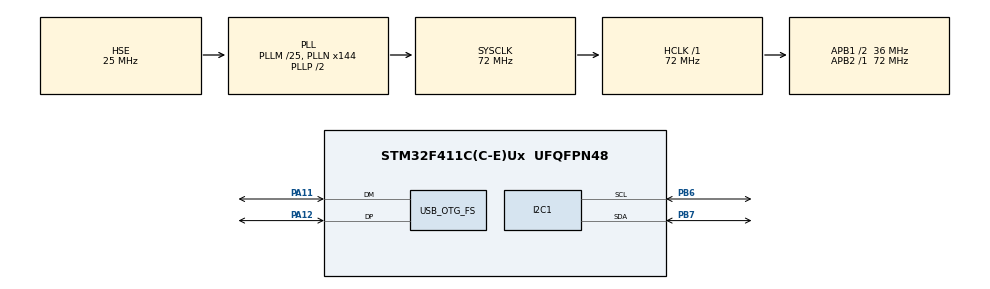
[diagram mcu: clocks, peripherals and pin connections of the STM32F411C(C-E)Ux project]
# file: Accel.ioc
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I2C1.DutyCycle=I2C_DUTYCYCLE_2
I2C1.I2C_Mode=I2C_Fast
Mcu.Family=STM32F4
Mcu.Name=STM32F411C(C-E)Ux
Mcu.Package=UFQFPN48
NVIC.OTG_FS_IRQn=true\:0\:0\:false\:false\:true\:false\:true
NVIC.PriorityGroup=NVIC_PRIORITYGROUP_4
PA11.Mode=Device_Only
PA11.Signal=USB_OTG_FS_DM
PA12.Mode=Device_Only
PA12.Signal=USB_OTG_FS_DP
PB6.Mode=I2C
PB6.Signal=I2C1_SCL
PB7.Mode=I2C
PB7.Signal=I2C1_SDA
PH0\ -\ OSC_IN.Mode=HSE-External-Oscillator
PH0\ -\ OSC_IN.Signal=RCC_OSC_IN
PH1\ -\ OSC_OUT.Mode=HSE-External-Oscillator
PH1\ -\ OSC_OUT.Signal=RCC_OSC_OUT
ProjectManager.HeapSize=0x200
ProjectManager.StackSize=0x400
ProjectManager.TargetToolchain=STM32CubeIDE
RCC.48MHZClocksFreq_Value=48000000
RCC.AHBFreq_Value=72000000
RCC.APB1CLKDivider=RCC_HCLK_DIV2
RCC.APB1Freq_Value=36000000
RCC.APB1TimFreq_Value=72000000
RCC.APB2Freq_Value=72000000
RCC.APB2TimFreq_Value=72000000
RCC.CortexFreq_Value=72000000
RCC.HCLKFreq_Value=72000000
RCC.HSE_VALUE=25000000
RCC.HSI_VALUE=16000000
RCC.LSE_VALUE=32768
RCC.PLLM=25
RCC.PLLN=144
RCC.PLLQ=3
RCC.SYSCLKFreq_VALUE=72000000
RCC.SYSCLKSource=RCC_SYSCLKSOURCE_PLLCLK
RCC.VCOOutputFreq_Value=144000000
USB_DEVICE.CLASS_NAME_FS=CDC
USB_DEVICE.VirtualMode=Cdc
USB_DEVICE.VirtualModeFS=Cdc_FS
USB_OTG_FS.VirtualMode=Device_Only
VP_TIM3_VS_ClockSourceINT.Mode=Internal
VP_TIM9_VS_ClockSourceINT.Mode=Internal
VP_USB_DEVICE_VS_USB_DEVICE_CDC_FS.Mode=CDC_FS
board=custom

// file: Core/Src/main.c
/* USER CODE BEGIN Header */
/**
  ******************************************************************************
  * @file           : main.c
  * @brief          : Main program body
  ******************************************************************************
  * @attention
  *
  * <h2><center>&copy; Copyright (c) 2021 STMicroelectronics.
  * All rights reserved.</center></h2>
  *
  * This software component is licensed by ST under Ultimate Liberty license
  * SLA0044, the "License"; You may not use this file except in compliance with
  * the License. You may obtain a copy of the License at:
  *                             www.st.com/SLA0044
  *
  ******************************************************************************
  */
/* USER CODE END Header */
#include "main.h"

/* USER CODE BEGIN Includes */
#include <stdarg.h>
/* USER CODE END Includes */

/* USER CODE BEGIN PD */
#define MPU_DEV 0x68 // Device Address
#define MPU_PW1 0x6B // Device Power Management Register 1
#define MPU_PW2 0x6C // Device Power Management Register 2
#define MPU_WHO 0x75 // Device Whoami register

#define MPU_GSR 0x19 // Gyro Sample Rate Divider Register
#define MPU_GCF 0x1B // Gyro Config Register

#define MPU_ACF 0x1C // Accelerometer Configure Register

#define MPU_DAT 0x3B // Accelerometer X sensor High Byte Starting data address
#define MPU_AXL 0x3C // Accelerometer X sensor Low  Byte

#define MPU_AYH 0x3D
#define MPU_AYL 0x3E

#define MPU_AZH 0x3F
#define MPU_AZL 0x40

/* USER CODE END PD */

I2C_HandleTypeDef hi2c1;

TIM_HandleTypeDef htim3;
TIM_HandleTypeDef htim9;

void SystemClock_Config(void);
static void MX_GPIO_Init(void);
static void MX_TIM3_Init(void);
static void MX_TIM9_Init(void);
static void MX_I2C1_Init(void);

/* USER CODE BEGIN 0 */
uint8_t msg[1024];

void cdc_printf(const char * fmt, ...){
	// Make a simple function to print to usb
	va_list args;
	va_start(args, fmt);
    vsprintf((char *)msg, fmt, args);
	va_end(args);
	CDC_Transmit_FS(msg, strlen((char *)msg));HAL_Delay(100); // We need to add a little delay or else the databuffer gets overwritten
}

void ag_whoami(uint16_t dev_addr, uint8_t *data){
	// Accel-Gyro who am i, check the whoami reg to verify we are the device
	HAL_I2C_Mem_Read(&hi2c1, dev_addr<<1, MPU_WHO, 1, data, 1, HAL_MAX_DELAY);
}

int ag_set_gyro_sample_rate(uint16_t dev_addr, uint8_t *div){
	// divide the Gyro sample rate
	return HAL_I2C_Mem_Write(&hi2c1, dev_addr<<1, MPU_GSR, 1, div, 1, HAL_MAX_DELAY);
}

int ag_get_gyro_sample_rate(uint16_t dev_addr, uint8_t *data){
	// divide the Gyro sample rate
	return HAL_I2C_Mem_Read(&hi2c1, dev_addr<<1, MPU_GSR, 1, data, 1, HAL_MAX_DELAY);
}

int ag_set_gyro_config(uint16_t dev_addr, uint8_t *config){
	// Set the Gyro Full Scale Range,
	// Conduct Self Test bool based on
	// bit 7:x Axis Gyro
	// bit 6:y Axis Gyro
	// bit 5:z Axis Gyro
	// Self test ensures that the device provided a meaning full output within
	// expected factory range, requires additional setup to calculate FS, see Registermap
	// for more info

	// Set scale on bits 4 and bits 3
	// 0:250, 1:500, 2:1000, 3:2000 [deg/s] See data sheet for more info
	// Bits 2-0 Don't matter
	return HAL_I2C_Mem_Write(&hi2c1, dev_addr<<1, MPU_GCF, 1, config, 1, HAL_MAX_DELAY);
}

int ag_get_gyro_config(uint16_t dev_addr, uint8_t *config){
	return HAL_I2C_Mem_Read(&hi2c1, dev_addr<<1, MPU_GCF, 1, config, 1, HAL_MAX_DELAY);
}

int ag_set_acel_config(uint16_t dev_addr, uint8_t *config){
	// Set the Acel Full Scale Range,
	// Conduct Self Test bool based on
	// bit 7:x Axis
	// bit 6:y Axis
	// bit 5:z Axis
	// Self test ensures that the device provided a meaning full output within
	// expected factory range, requires additional setup to calculate FS, see Registermap
	// for more info

	// Set scale on bits 4 and bits 3
	// 0:2g, 1:4g, 2:8g, 3:16g[m/(s^2)] See data sheet for more info
	// Bits 2-0 Don't matter
	return HAL_I2C_Mem_Write(&hi2c1, dev_addr<<1, MPU_ACF, 1, config, 1, HAL_MAX_DELAY);
}

int ag_get_acel_config(uint16_t dev_addr, uint8_t *config){
	return HAL_I2C_Mem_Read(&hi2c1, dev_addr<<1, MPU_ACF, 1, config, 1, HAL_MAX_DELAY);
}

int ag_get_data(uint16_t dev_addr, int16_t *x, int16_t *y, int16_t *z, int16_t *t, int16_t *a, int16_t *b, int16_t *g){
	uint8_t status = 0;
	uint8_t d[14] = {0} ;
	status = HAL_I2C_Mem_Read(&hi2c1, dev_addr<<1, MPU_DAT, 1, d, 14, HAL_MAX_DELAY);
	*x = (uint16_t)d[0]<<8 | (uint16_t)d[1];
	*y = (uint16_t)d[2]<<8 | (uint16_t)d[3];
	*z = (uint16_t)d[4]<<8 | (uint16_t)d[5];

	*t = (uint16_t)d[6]<<8 | (uint16_t)d[7];

	*a = (uint16_t)d[8]<<8 | (uint16_t)d[9];
	*b = (uint16_t)d[10]<<8 | (uint16_t)d[11];
	*g = (uint16_t)d[12]<<8 | (uint16_t)d[13];

	return status;
}

int ag_pwr_mgmt(uint16_t dev_addr, uint8_t *config1, uint8_t *config2){
	// Power Management configuration
	// Register 1
	// Bit7 - set to 1 to reset device
	// Bit6 - set to 1 to enter sleep mode (no updates), by default device is in sleep mode
	// Bit5 - set to 1 while sleep mode 0 to cycle between sleep mode and single measurement (save power, low update)
	// bit4 - na
	// bit3 - set to 1 disable temperature sensor
	// bit2-0 - set clock, just have this set to 0
	// Register 2
	// Just set this byte to zero, or it will put everything in standby mode
	int status = 0;
	status = HAL_I2C_Mem_Write(&hi2c1, dev_addr<<1, MPU_PW1, 1, config1, 1, HAL_MAX_DELAY);
	return status | HAL_I2C_Mem_Write(&hi2c1, dev_addr<<1, MPU_PW2, 1, config2, 1, HAL_MAX_DELAY);
	return status;
}

/* USER CODE END 0 */

int main(void)
{

  /* MCU Configuration--------------------------------------------------------*/

  /* Reset of all peripherals, Initializes the Flash interface and the Systick. */
  HAL_Init();

  /* Configure the system clock */
  SystemClock_Config();

  /* Initialize all configured peripherals */
  MX_GPIO_Init();
  MX_USB_DEVICE_Init();
  MX_TIM3_Init();
  MX_TIM9_Init();
  MX_I2C1_Init();

  /* USER CODE BEGIN 2 */
  Status = -1;
  uint8_t data;
  uint8_t gyro_scale = 7; // set to 7 so has same sample speed as accelerometer
  uint8_t pwr_config = 0;
  uint8_t accel_config = 0x08;
  int16_t xreading = 0;
  int16_t yreading = 0;
  int16_t zreading = 0;

  int16_t treading = 0;

  int16_t areading = 0;
  int16_t breading = 0;
  int16_t greading = 0;

  ag_pwr_mgmt(MPU_DEV, &pwr_config, &pwr_config);
  ag_set_acel_config(MPU_DEV, &accel_config);
  // Initialize Comms
  /* USER CODE END 2 */

  /* Infinite loop */
  /* USER CODE BEGIN WHILE */
  while (1)
  {
	  while(Status){ // Hold here until You press 'n'
	  }

	ag_get_data(MPU_DEV, &xreading, &yreading, &zreading, &treading, &areading, &breading, &greading);
	cdc_printf("x:%d y:%d z:%d\r\n", xreading, yreading, zreading);//, areading, breading, greading, treading);
	cdc_printf("a:%d b:%d g:%d\r\n", areading, breading, greading);

    Status = -1; // Set the status to -1 so we wait until user issues new read command
    /* USER CODE END WHILE */

  }
}

void SystemClock_Config(void)
{
  RCC_OscInitTypeDef RCC_OscInitStruct = {0};
  RCC_ClkInitTypeDef RCC_ClkInitStruct = {0};

  /** Configure the main internal regulator output voltage
  */
  __HAL_RCC_PWR_CLK_ENABLE();
  __HAL_PWR_VOLTAGESCALING_CONFIG(PWR_REGULATOR_VOLTAGE_SCALE1);
  /** Initializes the RCC Oscillators according to the specified parameters
  * in the RCC_OscInitTypeDef structure.
  */
  RCC_OscInitStruct.OscillatorType = RCC_OSCILLATORTYPE_HSE;
  RCC_OscInitStruct.HSEState = RCC_HSE_ON;
  RCC_OscInitStruct.PLL.PLLState = RCC_PLL_ON;
  RCC_OscInitStruct.PLL.PLLSource = RCC_PLLSOURCE_HSE;
  RCC_OscInitStruct.PLL.PLLM = 25;
  RCC_OscInitStruct.PLL.PLLN = 144;
  RCC_OscInitStruct.PLL.PLLP = RCC_PLLP_DIV2;
  RCC_OscInitStruct.PLL.PLLQ = 3;
  if (HAL_RCC_OscConfig(&RCC_OscInitStruct) != HAL_OK)
  {
    Error_Handler();
  }
  /** Initializes the CPU, AHB and APB buses clocks
  */
  RCC_ClkInitStruct.ClockType = RCC_CLOCKTYPE_HCLK|RCC_CLOCKTYPE_SYSCLK
                              |RCC_CLOCKTYPE_PCLK1|RCC_CLOCKTYPE_PCLK2;
  RCC_ClkInitStruct.SYSCLKSource = RCC_SYSCLKSOURCE_PLLCLK;
  RCC_ClkInitStruct.AHBCLKDivider = RCC_SYSCLK_DIV1;
  RCC_ClkInitStruct.APB1CLKDivider = RCC_HCLK_DIV2;
  RCC_ClkInitStruct.APB2CLKDivider = RCC_HCLK_DIV1;

  if (HAL_RCC_ClockConfig(&RCC_ClkInitStruct, FLASH_LATENCY_2) != HAL_OK)
  {
    Error_Handler();
  }
}

static void MX_I2C1_Init(void)
{

  hi2c1.Instance = I2C1;
  hi2c1.Init.ClockSpeed = 400000;
  hi2c1.Init.DutyCycle = I2C_DUTYCYCLE_2;
  hi2c1.Init.OwnAddress1 = 0;
  hi2c1.Init.AddressingMode = I2C_ADDRESSINGMODE_7BIT;
  hi2c1.Init.DualAddressMode = I2C_DUALADDRESS_DISABLE;
  hi2c1.Init.OwnAddress2 = 0;
  hi2c1.Init.GeneralCallMode = I2C_GENERALCALL_DISABLE;
  hi2c1.Init.NoStretchMode = I2C_NOSTRETCH_DISABLE;
  if (HAL_I2C_Init(&hi2c1) != HAL_OK)
  {
    Error_Handler();
  }

}

static void MX_TIM3_Init(void)
{

  TIM_ClockConfigTypeDef sClockSourceConfig = {0};
  TIM_MasterConfigTypeDef sMasterConfig = {0};

  htim3.Instance = TIM3;
  htim3.Init.Prescaler = 0;
  htim3.Init.CounterMode = TIM_COUNTERMODE_UP;
  htim3.Init.Period = 65535;
  htim3.Init.ClockDivision = TIM_CLOCKDIVISION_DIV1;
  htim3.Init.AutoReloadPreload = TIM_AUTORELOAD_PRELOAD_DISABLE;
  if (HAL_TIM_Base_Init(&htim3) != HAL_OK)
  {
    Error_Handler();
  }
  sClockSourceConfig.ClockSource = TIM_CLOCKSOURCE_INTERNAL;
  if (HAL_TIM_ConfigClockSource(&htim3, &sClockSourceConfig) != HAL_OK)
  {
    Error_Handler();
  }
  sMasterConfig.MasterOutputTrigger = TIM_TRGO_RESET;
  sMasterConfig.MasterSlaveMode = TIM_MASTERSLAVEMODE_DISABLE;
  if (HAL_TIMEx_MasterConfigSynchronization(&htim3, &sMasterConfig) != HAL_OK)
  {
    Error_Handler();
  }

}

static void MX_TIM9_Init(void)
{

  TIM_ClockConfigTypeDef sClockSourceConfig = {0};

  htim9.Instance = TIM9;
  htim9.Init.Prescaler = 0;
  htim9.Init.CounterMode = TIM_COUNTERMODE_UP;
  htim9.Init.Period = 65535;
  htim9.Init.ClockDivision = TIM_CLOCKDIVISION_DIV1;
  htim9.Init.AutoReloadPreload = TIM_AUTORELOAD_PRELOAD_DISABLE;
  if (HAL_TIM_Base_Init(&htim9) != HAL_OK)
  {
    Error_Handler();
  }
  sClockSourceConfig.ClockSource = TIM_CLOCKSOURCE_INTERNAL;
  if (HAL_TIM_ConfigClockSource(&htim9, &sClockSourceConfig) != HAL_OK)
  {
    Error_Handler();
  }

}

static void MX_GPIO_Init(void)
{

  /* GPIO Ports Clock Enable */
  __HAL_RCC_GPIOH_CLK_ENABLE();
  __HAL_RCC_GPIOA_CLK_ENABLE();
  __HAL_RCC_GPIOB_CLK_ENABLE();

}

void Error_Handler(void)
{
  __disable_irq();
  while (1)
  {
  }
}

/************************ (C) COPYRIGHT STMicroelectronics *****END OF FILE****/
